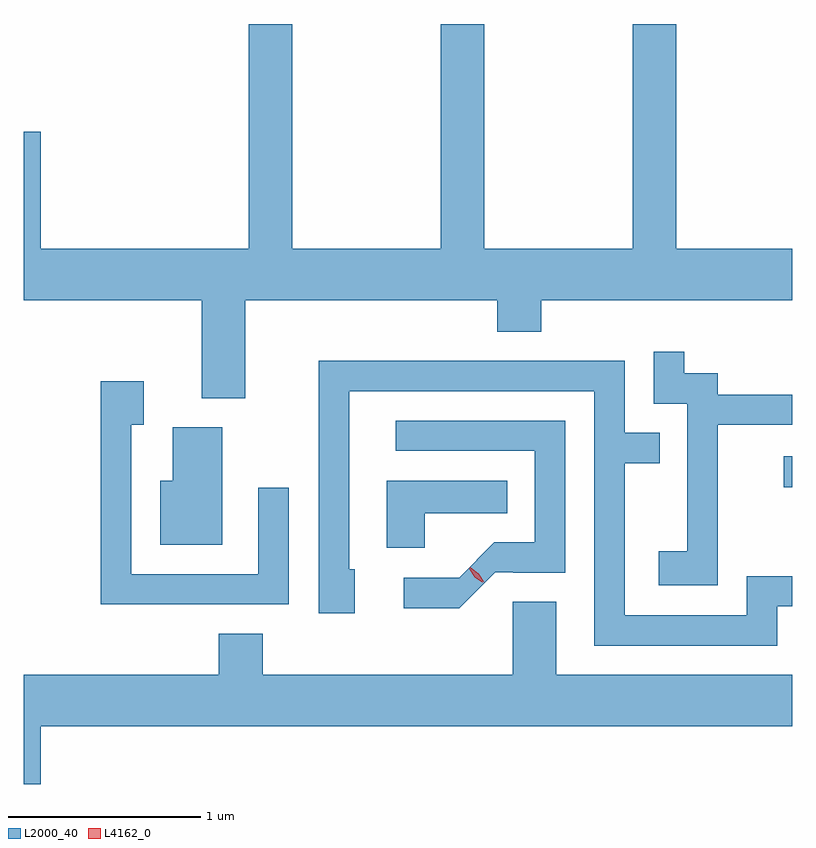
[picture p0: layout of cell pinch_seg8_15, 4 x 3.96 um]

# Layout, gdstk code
import gdstk
lib = gdstk.Library(unit=1e-6, precision=1e-09)
def R(c, l, rs):  # rectangles x0, y0, x1, y1
    for r in rs: c.add(gdstk.rectangle(r[:2], r[2:], *l))
def P(c, l, *ps):  # polygons
    for p in ps: c.add(gdstk.Polygon(p, *l))
L2000_40 = (2000, 40)
L4162_0 = (4162, 0)

pinch_seg8_15 = lib.new_cell('pinch_seg8_15')
R(pinch_seg8_15, L2000_40, [(1078.353,1890.941,1078.396,1891.104)])
P(pinch_seg8_15, L2000_40, [(1075.549,1891.916),(1076.861,1891.916),(1076.861,1891.751),(1077.089,1891.751),(1077.089,1891.916),(1078.396,1891.916),(1078.396,1892.184),(1077.794,1892.184),(1077.794,1893.354),(1077.566,1893.354),(1077.566,1892.184),(1076.794,1892.184),(1076.794,1893.354),(1076.566,1893.354),(1076.566,1892.184),(1075.794,1892.184),(1075.794,1893.354),(1075.566,1893.354),(1075.566,1892.184),(1074.484,1892.184),(1074.484,1892.794),(1074.396,1892.794),(1074.396,1891.916),(1075.321,1891.916),(1075.321,1891.406),(1075.549,1891.406)],
  [(1078.009,1891.266),(1078.396,1891.266),(1078.396,1891.424),(1078.009,1891.424),(1078.009,1891.534),(1077.834,1891.534),(1077.834,1891.648),(1077.676,1891.648),(1077.676,1891.376),(1077.851,1891.376),(1077.851,1890.609),(1077.701,1890.609),(1077.701,1890.431),(1078.009,1890.431)],
  [(1078.319,1890.321),(1078.396,1890.321),(1078.396,1890.479),(1078.161,1890.479),(1078.161,1890.274),(1077.524,1890.274),(1077.524,1891.066),(1077.708,1891.066),(1077.708,1891.224),(1077.524,1891.224),(1077.524,1891.599),(1075.931,1891.599),(1075.931,1890.286),(1076.119,1890.286),(1076.119,1890.514),(1076.089,1890.514),(1076.089,1891.441),(1077.366,1891.441),(1077.366,1890.116),(1078.319,1890.116)],
  [(1075.774,1890.938),(1075.616,1890.938),(1075.616,1890.489),(1074.954,1890.489),(1074.954,1891.266),(1075.019,1891.266),(1075.019,1891.494),(1074.796,1891.494),(1074.796,1890.331),(1075.774,1890.331)],
  [(1076.851,1890.5),(1076.945,1890.5),(1076.945,1890.496),(1077.214,1890.496),(1077.214,1891.289),(1076.333,1891.289),(1076.333,1891.131),(1077.056,1891.131),(1077.056,1890.654),(1076.846,1890.654),(1076.662,1890.47),(1076.373,1890.47),(1076.373,1890.311),(1076.662,1890.311)],
  [(1075.429,1891.254),(1075.171,1891.254),(1075.171,1890.974),(1075.106,1890.974),(1075.106,1890.641),(1075.429,1890.641)],
  [(1076.484,1890.806),(1076.913,1890.806),(1076.913,1890.974),(1076.286,1890.974),(1076.286,1890.626),(1076.484,1890.626)],
  [(1074.484,1889.696),(1078.396,1889.696),(1078.396,1889.964),(1077.169,1889.964),(1077.169,1890.344),(1076.941,1890.344),(1076.941,1889.964),(1075.639,1889.964),(1075.639,1890.179),(1075.411,1890.179),(1075.411,1889.964),(1074.396,1889.964),(1074.396,1889.396),(1074.484,1889.396)])
P(pinch_seg8_15, L4162_0, [(1076.794,1890.446),(1076.749,1890.479),(1076.718,1890.524),(1076.718,1890.525),(1076.719,1890.525),(1076.764,1890.492),(1076.794,1890.447),(1076.794,1890.446)],
  [(1076.786,1890.445),(1076.744,1890.474),(1076.716,1890.516),(1076.716,1890.517),(1076.717,1890.517),(1076.759,1890.488),(1076.786,1890.445),(1076.786,1890.445)])

lib.write_gds('pinch_seg8_15.gds')
